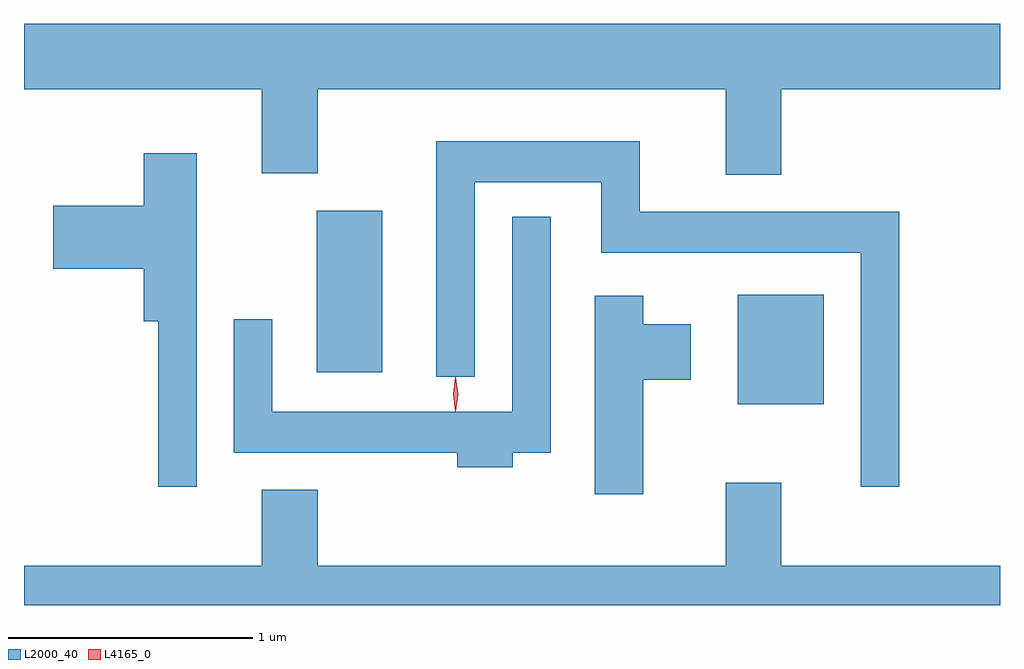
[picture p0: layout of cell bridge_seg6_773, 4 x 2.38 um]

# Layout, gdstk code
import gdstk
lib = gdstk.Library(unit=1e-6, precision=1e-09)
def R(c, l, rs):  # rectangles x0, y0, x1, y1
    for r in rs: c.add(gdstk.rectangle(r[:2], r[2:], *l))
def P(c, l, *ps):  # polygons
    for p in ps: c.add(gdstk.Polygon(p, *l))
L2000_40 = (2000, 40)
L4165_0 = (4165, 0)

bridge_seg6_773 = lib.new_cell('bridge_seg6_773')
R(bridge_seg6_773, L2000_40, [(485.981,1530.986,486.334,1531.434), (484.256,1531.116,484.524,1531.779)])
P(bridge_seg6_773, L2000_40, [(486.159,1532.276),(487.056,1532.276),(487.056,1532.544),(483.056,1532.544),(483.056,1532.276),(484.031,1532.276),(484.031,1531.931),(484.259,1531.931),(484.259,1532.276),(485.931,1532.276),(485.931,1531.926),(486.159,1531.926)],
  [(486.644,1531.774),(485.579,1531.774),(485.579,1532.064),(484.746,1532.064),(484.746,1531.098),(484.904,1531.098),(484.904,1531.896),(485.421,1531.896),(485.421,1531.606),(486.486,1531.606),(486.486,1530.648),(486.644,1530.648)],
  [(483.764,1532.014),(483.546,1532.014),(483.546,1531.799),(483.176,1531.799),(483.176,1531.541),(483.546,1531.541),(483.546,1531.326),(483.606,1531.326),(483.606,1530.648),(483.764,1530.648)],
  [(485.059,1530.786),(485.214,1530.786),(485.214,1531.753),(485.056,1531.753),(485.056,1530.954),(484.074,1530.954),(484.074,1531.333),(483.916,1531.333),(483.916,1530.786),(484.831,1530.786),(484.831,1530.726),(485.059,1530.726)],
  [(485.594,1531.086),(485.789,1531.086),(485.789,1531.314),(485.594,1531.314),(485.594,1531.429),(485.396,1531.429),(485.396,1530.616),(485.594,1530.616)],
  [(487.056,1530.324),(486.159,1530.324),(486.159,1530.664),(485.931,1530.664),(485.931,1530.324),(484.259,1530.324),(484.259,1530.634),(484.031,1530.634),(484.031,1530.324),(483.056,1530.324),(483.056,1530.162),(487.056,1530.162)])
P(bridge_seg6_773, L4165_0, [(484.826,1530.959),(484.825,1530.96),(484.815,1531.026),(484.825,1531.092),(484.825,1531.093),(484.826,1531.092),(484.835,1531.026),(484.826,1530.96)],
  [(484.824,1530.957),(484.815,1531.026),(484.824,1531.096),(484.825,1531.096),(484.825,1531.096),(484.835,1531.026),(484.825,1530.957),(484.825,1530.957)])

lib.write_gds('bridge_seg6_773.gds')
